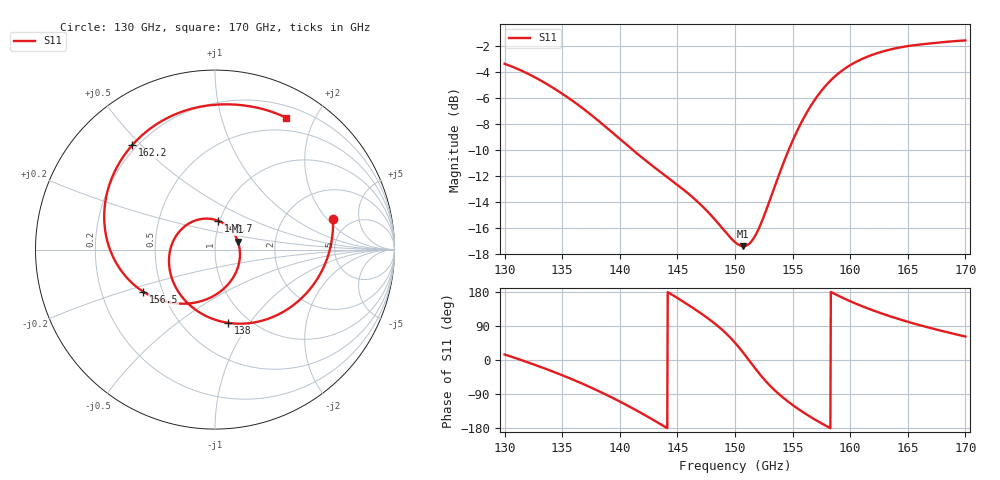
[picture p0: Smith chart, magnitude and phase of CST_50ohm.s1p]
! TOUCHSTONE file generated by CST MICROWAVE STUDIO
! Date and time: Thu Nov 19 13:22:48 2026
! Project name: TELE9782_DBand_Efficiency_Final.cst
! Parameters = {array_spacing=1.12; eps_r=3.5; feed_width=0.1688; ground_length=1.5; ground_width=2.5; inset_gap=0.02; inset_length=0.165; junction_y=-0.405; launch_length=0.5; loss_tangent=0.0027; mesh_box=54; mesh_near=36; metal_thickness=0.002; patch_length=0.5148; patch_width=0.667; port_halfwid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
! Header version: 2024
! Port assignment regex: !\s*Touchstone port\s*([0-9]+)\s*=\s*(CST MWS port|CST DES external port|CST DES block port)\s*(.+)\s* \(\"(.*)\"\)(\s*mode\s*([0-9]+))?.*
! Touchstone port assignment:
! Touchstone port 1 = CST MWS port 1 ("50ohm_microstrip")
# GHz S RI R 50
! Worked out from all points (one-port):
!   1001 points, 130 GHz to 170 GHz, reference 50 ohm
!   lowest |S11| = -17.4 dB at 150.7 GHz (marker M1), VSWR 1.31, Z = 64.4 + j5.79 ohm
!   |S11| at or under -10 dB: 141.1 GHz to 154.7 GHz (13.51 GHz wide, 9.14 % of centre)
!   S11 on the Smith chart (normalised r, x): 130 GHz: 3.68, +2.32; 138 GHz: 0.81, -0.80; 148.7 GHz: 0.98, +0.32; 156.5 GHz: 0.39, -0.23; 162.2 GHz: 0.18, +0.47; 170 GHz: 0.33, +1.62
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130  0.6573 0.1701
132.36  0.6019 -0.1053
135  0.3981 -0.336
136.52  0.2378 -0.4021
138  0.0743 -0.4082
140  -0.1171 -0.3288
141.28  -0.2018 -0.2386
142.52  -0.2475 -0.1354
143.76  -0.2544 -0.0294
145  -0.2231 0.0657
146.96  -0.1123 0.1612
148.72  0.0167 0.1609
150  0.098 0.1001
150.72  0.1278 0.0442
151.68  0.1381 -0.0485
152.8  0.0948 -0.1654
154  -0.0228 -0.2661
155  -0.1648 -0.3012
155.76  -0.2843 -0.2868
156.52  -0.3993 -0.235
158.28  -0.5845 -0.00158
159.12  -0.6154 0.1378
160  -0.6084 0.2826
162.2  -0.4622 0.5807
163.6  -0.314 0.706
165  -0.1489 0.7798
167.36  0.1237 0.8069
170  0.3941 0.7355
